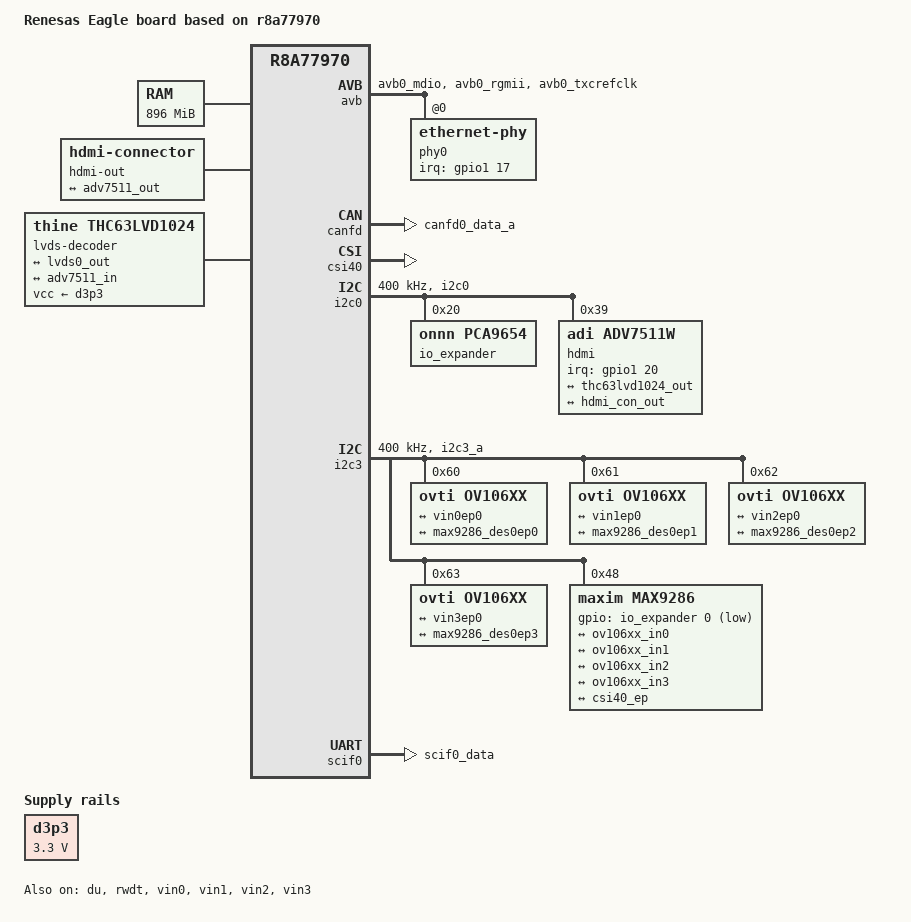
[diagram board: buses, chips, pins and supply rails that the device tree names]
/*
 * Device Tree Source for the Eagle board
 *
 * Copyright (C) 2016-2017 Renesas Electronics Corp.
 * Copyright (C) 2017 Cogent Embedded, Inc.
 *
 * This file is licensed under the terms of the GNU General Public License
 * version 2.  This program is licensed "as is" without any warranty of any
 * kind, whether express or implied.
 */

/dts-v1/;
#include "r8a77970.dtsi"
#include <dt-bindings/gpio/gpio.h>

/ {
	model = "Renesas Eagle board based on r8a77970";
	compatible = "renesas,eagle", "renesas,r8a77970";

	aliases {
		serial0 = &scif0;
		ethernet0 = &avb;
	};

	chosen {
		bootargs = "ignore_loglevel rw root=/dev/nfs ip=dhcp";
		stdout-path = "serial0:115200n8";
	};

	memory@48000000 {
		device_type = "memory";
		/* first 128MB is reserved for secure area. */
		reg = <0x0 0x48000000 0x0 0x38000000>;
	};

	reserved-memory {
		#address-cells = <2>;
		#size-cells = <2>;
		ranges;

		/* device specific region for Lossy Decompression */
		lossy_decompress: linux,lossy_decompress {
			no-map;
			reg = <0x00000000 0x6c000000 0x0 0x03000000>;
		};

		/* global autoconfigured region for contiguous allocations */
		linux,cma {
			compatible = "shared-dma-pool";
			reusable;
			reg = <0x00000000 0x6f000000 0x0 0x10000000>;
			linux,cma-default;
		};

		/* device specific region for contiguous allocations */
		linux,multimedia {
			compatible = "shared-dma-pool";
			reusable;
			reg = <0x00000000 0x7f000000 0x0 0x01000000>;
		};
	};

	mmngr {
		compatible = "renesas,mmngr";
		memory-region = <&lossy_decompress>;
	};

	mmngrbuf {
		compatible = "renesas,mmngrbuf";
	};

	vspm_if {
		compatible = "renesas,vspm_if";
	};

	hdmi-out {
		compatible = "hdmi-connector";
		type = "a";

		port {
			hdmi_con_out: endpoint {
				remote-endpoint = <&adv7511_out>;
			};
		};
	};

	d3p3: regulator-fixed {
		compatible = "regulator-fixed";
		regulator-name = "fixed-3.3V";
		regulator-min-microvolt = <3300000>;
		regulator-max-microvolt = <3300000>;
		regulator-boot-on;
		regulator-always-on;
	};

	lvds-decoder {
		compatible = "thine,thc63lvd1024";

		vcc-supply = <&d3p3>;

		ports {
			#address-cells = <1>;
			#size-cells = <0>;

			port@0 {
				reg = <0>;
				thc63lvd1024_in: endpoint {
					remote-endpoint = <&lvds0_out>;
				};
			};

			port@2 {
				reg = <2>;
				thc63lvd1024_out: endpoint {
					remote-endpoint = <&adv7511_in>;
				};
			};
		};
	};

	x1_clk: x1-clock {
		compatible = "fixed-clock";
		#clock-cells = <0>;
		clock-frequency = <148500000>;
	};
};

&avb {
	pinctrl-0 = <&avb_pins>;
	pinctrl-names = "default";

	renesas,no-ether-link;
	phy-handle = <&phy0>;
	phy-mode = "rgmii-id";
	status = "okay";

	phy0: ethernet-phy@0 {
		rxc-skew-ps = <1500>;
		reg = <0>;
		interrupt-parent = <&gpio1>;
		interrupts = <17 IRQ_TYPE_LEVEL_LOW>;
	};
};

&canfd {
	pinctrl-0 = <&canfd0_pins>;
	pinctrl-names = "default";
	status = "okay";

	channel0 {
		status = "okay";
	};
};

&csi40 {
	status = "okay";

	virtual,channel {
		csi2_vc0 {
			data,type = "ycbcr422";
			receive,vc = <0>;
		};
		csi2_vc1 {
			data,type = "ycbcr422";
			receive,vc = <1>;
		};
		csi2_vc2 {
			data,type = "ycbcr422";
			receive,vc = <2>;
		};
		csi2_vc3 {
			data,type = "ycbcr422";
			receive,vc = <3>;
		};
	};

	port {
		#address-cells = <1>;
		#size-cells = <0>;

		csi40_ep: endpoint {
			clock-lanes = <0>;
			data-lanes = <1 2 3 4>;
			csi-rate = <300>;
		};
	};
};

&du {
	clocks = <&cpg CPG_MOD 724>,
		 <&cpg CPG_MOD 727>,
		 <&x1_clk>;
	clock-names = "du.0", "lvds.0", "dclkin.0";
	status = "okay";

	ports {
		port@1 {
			lvds0_out: endpoint {
				remote-endpoint = <&thc63lvd1024_in>;
			};
		};
	};
};

&extal_clk {
	clock-frequency = <16666666>;
};

&extalr_clk {
	clock-frequency = <32768>;
};

&i2c0 {
	pinctrl-0 = <&i2c0_pins>;
	pinctrl-names = "default";

	status = "okay";
	clock-frequency = <400000>;

	io_expander: gpio@20 {
		compatible = "onnn,pca9654";
		reg = <0x20>;
		gpio-controller;
		#gpio-cells = <2>;
	};

	hdmi@39 {
		compatible = "adi,adv7511w";
		reg = <0x39>;
		interrupt-parent = <&gpio1>;
		interrupts = <20 IRQ_TYPE_LEVEL_LOW>;

		adi,input-depth = <8>;
		adi,input-colorspace = "rgb";
		adi,input-clock = "1x";
		adi,input-style = <1>;
		adi,input-justification = "evenly";

		ports {
			#address-cells = <1>;
			#size-cells = <0>;

			port@0 {
				reg = <0>;
				adv7511_in: endpoint {
					remote-endpoint = <&thc63lvd1024_out>;
				};
			};

			port@1 {
				reg = <1>;
				adv7511_out: endpoint {
					remote-endpoint = <&hdmi_con_out>;
				};
			};
		};
	};
};

&i2c3 {
	pinctrl-0 = <&i2c3_pins>;
	pinctrl-names = "default";

	status = "okay";
	clock-frequency = <400000>;

	ov106xx@0 {
		compatible = "ovti,ov106xx";
		reg = <0x60>;

		port@0 {
			ov106xx_in0: endpoint {
				clock-lanes = <0>;
				data-lanes = <1 2 3 4>;
				remote-endpoint = <&vin0ep0>;
			};
		};
		port@1 {
			ov106xx_max9286_des0ep0: endpoint@0 {
				remote-endpoint = <&max9286_des0ep0>;
			};
		};
	};

	ov106xx@1 {
		compatible = "ovti,ov106xx";
		reg = <0x61>;

		port@0 {
			ov106xx_in1: endpoint {
				clock-lanes = <0>;
				data-lanes = <1 2 3 4>;
				remote-endpoint = <&vin1ep0>;
			};
		};
		port@1 {
			ov106xx_max9286_des0ep1: endpoint@0 {
				remote-endpoint = <&max9286_des0ep1>;
			};
		};
	};

	ov106xx@2 {
		compatible = "ovti,ov106xx";
		reg = <0x62>;

		port@0 {
			ov106xx_in2: endpoint {
				clock-lanes = <0>;
				data-lanes = <1 2 3 4>;
				remote-endpoint = <&vin2ep0>;
			};
		};
		port@1 {
			ov106xx_max9286_des0ep2: endpoint@0 {
				remote-endpoint = <&max9286_des0ep2>;
			};
		};
	};

	ov106xx@3 {
		compatible = "ovti,ov106xx";
		reg = <0x63>;

		port@0 {
			ov106xx_in3: endpoint {
				clock-lanes = <0>;
				data-lanes = <1 2 3 4>;
				remote-endpoint = <&vin3ep0>;
			};
		};
		port@1 {
			ov106xx_des0ep3: endpoint {
				remote-endpoint = <&max9286_des0ep3>;
			};
		};
	};

	max9286@0 {
		compatible = "maxim,max9286";
		reg = <0x48>;
		gpios = <&io_expander 0 GPIO_ACTIVE_LOW>; /* MAX9286 PWDN */
		maxim,gpio0 = <0>;
		maxim,sensor_delay = <100>;
		maxim,links = <4>;
		maxim,lanes = <4>;
		maxim,resetb-gpio = <1>;
		maxim,fsync-mode = "automatic";
		maxim,timeout = <100>;

		port@0 {
			max9286_des0ep0: endpoint@0 {
				max9271-addr = <0x50>;
				dvp-order = <1>;
				remote-endpoint = <&ov106xx_in0>;
			};
			max9286_des0ep1: endpoint@1 {
				max9271-addr = <0x51>;
				dvp-order = <1>;
				remote-endpoint = <&ov106xx_in1>;
			};
			max9286_des0ep2: endpoint@2 {
				max9271-addr = <0x52>;
				dvp-order = <1>;
				remote-endpoint = <&ov106xx_in2>;
			};
			max9286_des0ep3: endpoint@3 {
				max9271-addr = <0x53>;
				dvp-order = <1>;
				remote-endpoint = <&ov106xx_in3>;
			};
		};
		port@1 {
			max9286_csi0ep0: endpoint {
				csi-rate = <700>;
				remote-endpoint = <&csi40_ep>;
			};
		};
	};
};

&pfc {
	avb_pins: avb0 {
		groups = "avb0_mdio", "avb0_rgmii", "avb0_txcrefclk";
		function = "avb0";
	};

	canfd0_pins: canfd0 {
		groups = "canfd0_data_a";
		function = "canfd0";
	};

	i2c0_pins: i2c0 {
		groups = "i2c0";
		function = "i2c0";
	};

	i2c3_pins: i2c3 {
		groups = "i2c3_a";
		function = "i2c3";
	};

	scif0_pins: scif0 {
		groups = "scif0_data";
		function = "scif0";
	};
};

&rwdt {
	timeout-sec = <60>;
	status = "okay";
};

&scif0 {
	pinctrl-0 = <&scif0_pins>;
	pinctrl-names = "default";

	status = "okay";
};

&vin0 {
	status = "okay";

	ports {
		#address-cells = <1>;
		#size-cells = <0>;

		port@0 {
			vin0ep0: endpoint {
				csi,select = "csi40";
				virtual,channel = <0>;
				data-lanes = <1 2 3 4>;
				remote-endpoint = <&ov106xx_in0>;
			};
		};
		port@1 {
			csi0ep0: endpoint {
				remote-endpoint = <&csi40_ep>;
			};
		};
		port@2 {
			vin0_max9286_des0ep0: endpoint@0 {
				remote-endpoint = <&max9286_des0ep0>;
			};
		};
	};
};

&vin1 {
	status = "okay";

	ports {
		#address-cells = <1>;
		#size-cells = <0>;

		port@0 {
			vin1ep0: endpoint {
				csi,select = "csi40";
				virtual,channel = <1>;
				data-lanes = <1 2 3 4>;
				remote-endpoint = <&ov106xx_in1>;
			};
		};
		port@1 {
			csi0ep1: endpoint {
				remote-endpoint = <&csi40_ep>;
			};
		};
		port@2 {
			vin1_max9286_des0ep1: endpoint@0 {
				remote-endpoint = <&max9286_des0ep1>;
			};
		};
	};
};

&vin2 {
	status = "okay";

	ports {
		#address-cells = <1>;
		#size-cells = <0>;

		port@0 {
			vin2ep0: endpoint {
				csi,select = "csi40";
				virtual,channel = <2>;
				data-lanes = <1 2 3 4>;
				remote-endpoint = <&ov106xx_in2>;
			};
		};
		port@1 {
			csi0ep2: endpoint {
				remote-endpoint = <&csi40_ep>;
			};
		};
		port@2 {
			vin2_max9286_des0ep2: endpoint@0 {
				remote-endpoint = <&max9286_des0ep2>;
			};
		};
	};
};

&vin3 {
	status = "okay";

	ports {
		#address-cells = <1>;
		#size-cells = <0>;

		port@0 {
			vin3ep0: endpoint {
				csi,select = "csi40";
				virtual,channel = <3>;
				data-lanes = <1 2 3 4>;
				remote-endpoint = <&ov106xx_in3>;
			};
		};
		port@1 {
			csi0ep3: endpoint {
				remote-endpoint = <&csi40_ep>;
			};
		};
		port@2 {
			vin3_max9286_des0ep3: endpoint@0 {
				remote-endpoint = <&max9286_des0ep3>;
			};
		};
	};
};
